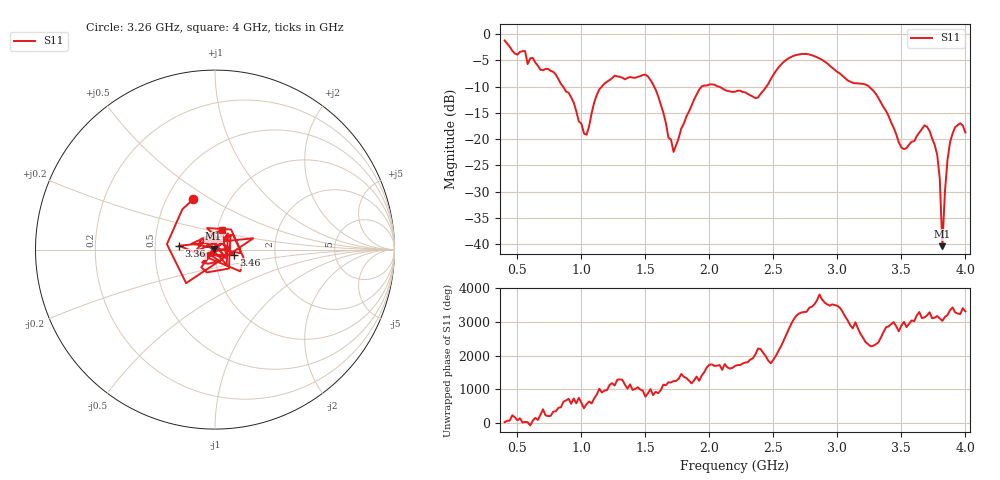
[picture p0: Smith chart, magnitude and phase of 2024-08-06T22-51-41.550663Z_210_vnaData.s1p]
!Created with skrf (http://scikit-rf.org).
# Hz S RI R 50.0
!freq ReS11 ImS11
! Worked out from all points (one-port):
!   181 points, 400 MHz to 4 GHz, reference 50 ohm
!   lowest |S11| = -40.4 dB at 3.82 GHz (marker M1), VSWR 1.02, Z = 49.2 + j0.497 ohm
!   |S11| at or under -10 dB: 1.568 GHz to 1.939 GHz (370.9 MHz wide, 21.2 % of centre); 2.072 GHz to 2.445 GHz (373.4 MHz wide, 16.5 % of centre); 3.246 GHz to end of sweep (the widest 3 of 4)
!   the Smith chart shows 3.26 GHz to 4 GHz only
!   S11 on the Smith chart (normalised r, x): 3.26 GHz: 0.68, +0.42; 3.36 GHz: 0.67, +0.03; 3.46 GHz: 1.24, -0.07; 4 GHz: 1.05, +0.23
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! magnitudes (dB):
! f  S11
! 400 MHz  -1.2
! 860 MHz  -10.1
! 1.04 GHz  -19.2
! 1.14 GHz  -10.5
! 1.3 GHz  -8.1
! 1.52 GHz  -8.1
! 1.6 GHz  -11.9
! 1.72 GHz  -22.4
! 1.76 GHz  -19.8
! 1.94 GHz  -10.0
! 2.2 GHz  -11.0
! 2.38 GHz  -12.1
! 2.66 GHz  -4.1
! 2.86 GHz  -4.6
! 3.1 GHz  -9.1
! 3.26 GHz  -10.3
! 3.36 GHz  -13.9
! 3.46 GHz  -19.1
! 3.5 GHz  -21.6
! 3.56 GHz  -21.0
! 3.68 GHz  -17.4
! 3.76 GHz  -21.1
! 3.8 GHz  -27.6
! 3.82 GHz  -40.4
! 3.84 GHz  -30.1
! 3.88 GHz  -20.6
! 3.96 GHz  -17.0
! 4 GHz  -18.7
